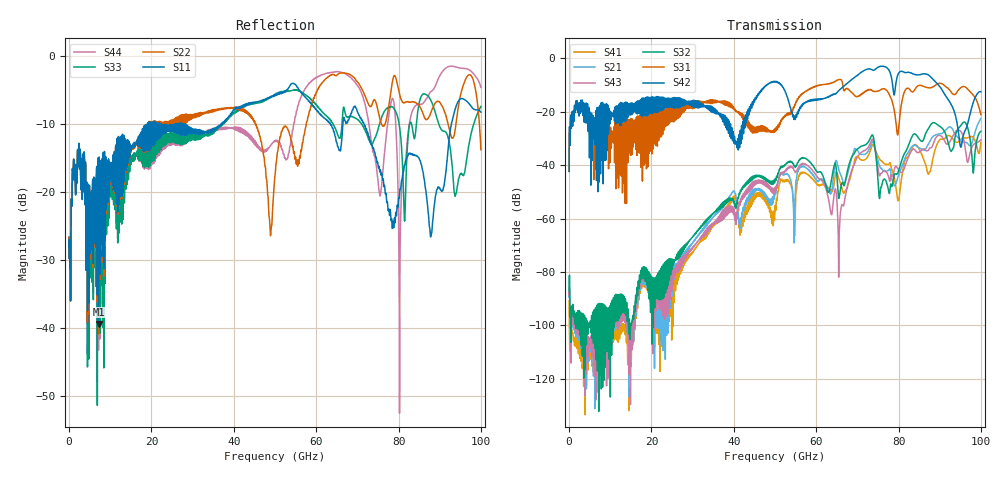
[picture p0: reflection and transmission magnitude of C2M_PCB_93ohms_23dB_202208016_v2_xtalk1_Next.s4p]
! Info: Touchstone file created by Circ.  Input file=Intel_C2M_200G_9p0in_202208016_staggered.circ
# Hz S RI R 50
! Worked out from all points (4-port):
!   10000 points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, 10 MHz to 100 GHz, reference 50 ohm
!   strongest paths, dB at 10 MHz, 25.01 GHz, 50.01 GHz, 75.01 GHz, 100 GHz:
!     S42: -42.3, -16.9, -8.6, -3.4, -12.5
!     S31: -42.4, -21.5, -26.8, -12.3, -21.1
!     S32: -87.1, -78.2, -45.3, -45.3, -27.4
!     S43: -88.1, -81.7, -49.0, -41.5, -30.5
!     S21: -88.5, -79.4, -49.7, -38.4, -22.6
!     S41: -90.8, -79.8, -55.6, -36.7, -31.5
!   lowest |S11| = -39.4 dB at 7.16 GHz (marker M1), VSWR 1.02, Z = 49.4 - j0.878 ohm
!   |S11| at or under -10 dB: start of sweep to 19.12 GHz; 28.28 GHz to 36.76 GHz (8.488 GHz wide, 26.1 % of centre); 71.62 GHz to 92.82 GHz (21.2 GHz wide, 25.8 % of centre)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
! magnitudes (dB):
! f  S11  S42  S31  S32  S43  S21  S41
! 10 MHz  -29.7  -42.3  -42.4  -87.1  -88.1  -88.5  -90.8
! 7.16 GHz  -39.4  -18.4  -21.2  -99.6  -101.5  -104.1  -105.7
! 56.76 GHz  -5.6  -17.1  -13.0  -37.2  -39.4  -40.3  -42.6
! 65.42 GHz  -13.5  -12.2  -8.0  -52.1  -72.8  -41.2  -44.8
! 80.35 GHz  -19.6  -5.0  -21.0  -40.4  -42.5  -42.4  -49.7
! 95.16 GHz  -6.2  -33.3  -11.0  -25.1  -27.4  -31.0  -30.2
! 100 GHz  -8.2  -12.5  -21.1  -27.4  -30.5  -22.6  -31.5
